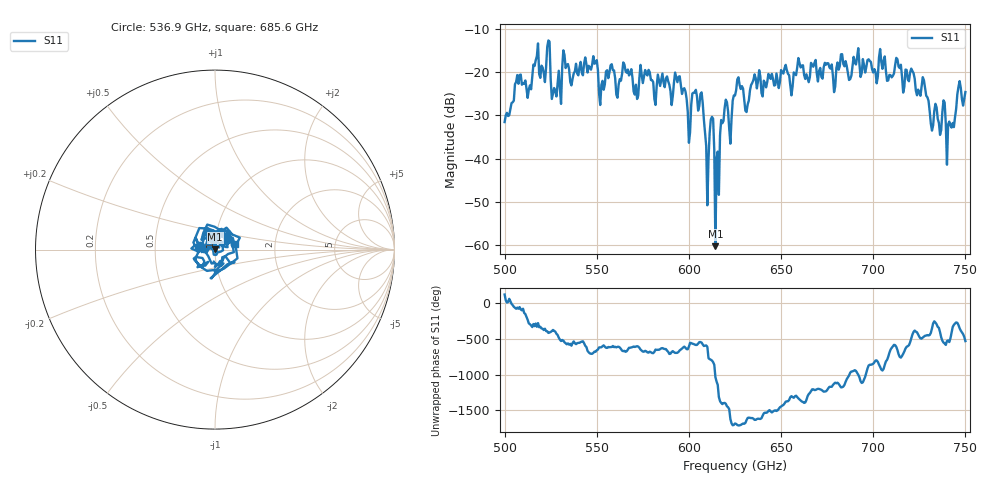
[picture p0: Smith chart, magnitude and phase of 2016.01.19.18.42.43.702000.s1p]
!Created with skrf (http://scikit-rf.org).
# GHz S RI R 50.0
!freq ReS11 ImS11
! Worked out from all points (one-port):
!   401 points, 500 GHz to 750 GHz, reference 50 ohm
!   lowest |S11| = -60.2 dB at 614.4 GHz (marker M1), VSWR 1.00, Z = 50.1 + j0.0689 ohm
!   |S11| at or under -10 dB: start of sweep to end of sweep
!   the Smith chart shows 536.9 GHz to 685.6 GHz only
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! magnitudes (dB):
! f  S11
! 500 GHz  -31.5
! 507.5 GHz  -22.7
! 513.8 GHz  -23.0
! 516.9 GHz  -17.2
! 523.8 GHz  -12.7
! 526.9 GHz  -23.7
! 531.2 GHz  -18.8
! 548.8 GHz  -18.0
! 552.5 GHz  -23.0
! 562.5 GHz  -21.6
! 593.8 GHz  -22.3
! 600 GHz  -36.3
! 603.1 GHz  -24.7
! 606.9 GHz  -24.7
! 609.4 GHz  -37.0
! 612.5 GHz  -30.3
! 614.4 GHz  -60.2
! 615.6 GHz  -38.4
! 618.8 GHz  -31.3
! 622.5 GHz  -36.5
! 625 GHz  -25.4
! 656.2 GHz  -23.3
! 660.6 GHz  -18.9
! 687.5 GHz  -21.6
! 718.8 GHz  -21.7
! 741.2 GHz  -31.4
! 746.2 GHz  -23.4
! 750 GHz  -24.6
